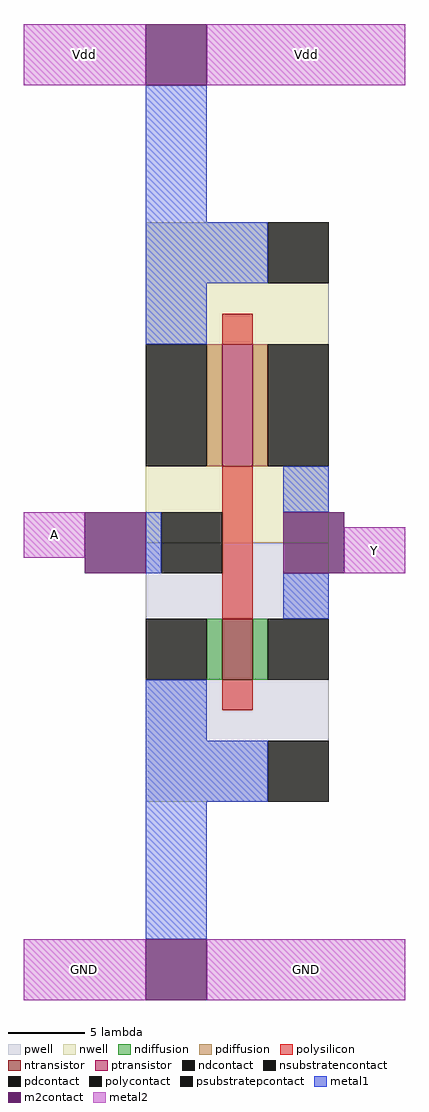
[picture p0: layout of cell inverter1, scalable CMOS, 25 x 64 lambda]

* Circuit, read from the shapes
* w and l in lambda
.subckt inverter1 A GND Vdd Y
M1 Y A GND GND nfet w=4 l=2
M2 Y A Vdd Vdd pfet w=8 l=2
.ends

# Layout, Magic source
magic
tech scmos
<< pwell >>
rect 2 18 14 35
<< nwell >>
rect 2 35 14 56
<< polysilicon >>
rect 7 48 9 50
rect 7 30 9 40
rect 7 24 9 26
<< ndiffusion >>
rect 6 26 7 30
rect 9 26 10 30
<< pdiffusion >>
rect 6 40 7 48
rect 9 40 10 48
<< metal1 >>
rect 2 56 6 65
rect 2 52 10 56
rect 2 48 6 52
rect 11 37 14 40
rect 2 33 3 37
rect 11 30 14 33
rect 2 22 6 26
rect 2 18 10 22
rect 2 9 6 18
<< metal2 >>
rect -6 65 2 69
rect 6 65 19 69
rect -6 34 -2 37
rect 15 33 19 36
rect -6 5 2 9
rect 6 5 19 9
<< ntransistor >>
rect 7 26 9 30
<< ptransistor >>
rect 7 40 9 48
<< polycontact >>
rect 3 33 7 37
<< ndcontact >>
rect 2 26 6 30
rect 10 26 14 30
<< pdcontact >>
rect 2 40 6 48
rect 10 40 14 48
<< m2contact >>
rect 2 65 6 69
rect -2 33 2 37
rect 11 33 15 37
rect 2 5 6 9
<< psubstratepcontact >>
rect 10 18 14 22
<< nsubstratencontact >>
rect 10 52 14 56
<< labels >>
rlabel metal2 15 33 19 36 3 Y
rlabel metal2 6 65 19 69 3 Vdd
rlabel metal2 6 5 19 9 3 GND
rlabel metal2 -6 65 2 69 7 Vdd
rlabel metal2 -6 5 2 9 7 GND
rlabel metal2 -6 34 -2 37 7 A
<< end >>
